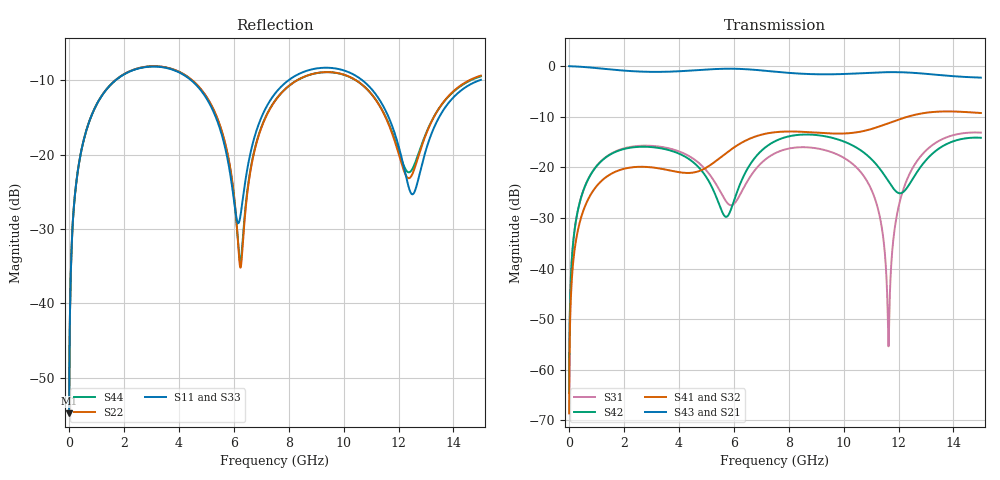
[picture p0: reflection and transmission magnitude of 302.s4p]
! Created with skrf 1.8.0 (http://scikit-rf.org).
# GHz S RI R 50.0
!freq ReS11 ImS11 ReS12 ImS12 ReS13 ImS13
! ReS14 ImS14
! ReS21 ImS21 ReS22 ImS22 ReS23 ImS23
! ReS24 ImS24
! ReS31 ImS31 ReS32 ImS32 ReS33 ImS33
! ReS34 ImS34
! ReS41 ImS41 ReS42 ImS42 ReS43 ImS43
! ReS44 ImS44
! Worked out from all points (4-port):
!   2499 points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, 5 MHz to 15 GHz, reference 50 ohm
!   strongest paths, dB at 5 MHz, 3.476 GHz, 7.19 GHz, 11.1 GHz, 15 GHz:
!     S43: 0.0, -1.1, -0.9, -1.3, -2.3
!     S21: 0.0, -1.1, -0.9, -1.3, -2.3
!     S41: -68.6, -20.4, -13.3, -12.3, -9.3
!     S32: -68.6, -20.5, -13.3, -12.3, -9.3
!     S42: -64.6, -16.4, -15.9, -18.9, -14.2
!     S31: -64.6, -16.1, -18.3, -25.5, -13.1
!   lowest |S11| = -54.8 dB at 5 MHz (marker M1), VSWR 1.00, Z = 50.1 + j0.11 ohm
!   |S11| at or under -10 dB: start of sweep to 1.7 GHz; 4.446 GHz to 7.997 GHz (3.551 GHz wide, 57.1 % of centre); 10.68 GHz to 14.96 GHz (4.279 GHz wide, 33.4 % of centre)
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0.005  0.00145 0.0011  0.9985 -0.00282  7.26e-05 0.000586  -7.04e-05 -0.000365
       0.9985 -0.00282  0.00145 0.0011  -7.04e-05 -0.000365  7.25e-05 0.000586
       7.26e-05 0.000586  -7.04e-05 -0.000365  0.00145 0.0011  0.9985 -0.00282
       -7.04e-05 -0.000365  7.25e-05 0.000586  0.9985 -0.00282  0.00145 0.0011
0.3126303  0.0195 0.073  0.9735 -0.1762  0.00908 0.0352  -0.00743 -0.0218
           0.9735 -0.1762  0.0195 0.073  -0.00742 -0.0218  0.00876 0.0353
           0.00908 0.0352  -0.00742 -0.0218  0.0195 0.073  0.9735 -0.1761
           -0.00743 -0.0218  0.00876 0.0353  0.9735 -0.1761  0.0195 0.073
1.569404  0.2347 0.1884  0.6204 -0.6843  0.1198 0.0691  -0.0855 -0.0176
          0.6204 -0.6843  0.2361 0.1878  -0.0853 -0.0177  0.1149 0.0747
          0.1198 0.0691  -0.0853 -0.0177  0.2347 0.1884  0.6204 -0.6843
          -0.0855 -0.0176  0.1149 0.0747  0.6204 -0.6843  0.236 0.1878
6.277616  0.0366 0.0218  -0.9365 -0.0263  -0.0323 0.0467  0.00269 0.1745
          -0.9365 -0.0263  0.0178 0.00588  -0.00165 0.1745  0.052 0.0515
          -0.0323 0.0467  -0.00165 0.1745  0.0346 0.0235  -0.9365 -0.0261
          0.00269 0.1745  0.052 0.0515  -0.9365 -0.0261  0.0193 0.00729
10.27303  0.324 -0.1378  0.2502 0.8034  0.0911 -0.0637  0.1868 -0.1129
          0.2502 0.8034  0.3137 -0.1005  0.1898 -0.1033  0.0743 -0.1501
          0.0911 -0.0637  0.1898 -0.1033  0.3252 -0.1396  0.2488 0.8036
          0.1868 -0.1129  0.0743 -0.1501  0.2488 0.8036  0.3143 -0.097
11.6361  0.1096 -0.1416  0.7277 0.4798  -0.00166 -0.000384  0.1378 -0.2357
         0.7277 0.4798  0.1183 -0.1085  0.1497 -0.2283  -0.0535 -0.0493
         -0.00166 -0.000384  0.1497 -0.2283  0.1063 -0.144  0.7264 0.4815
         0.1378 -0.2357  -0.0535 -0.0493  0.7264 0.4815  0.1236 -0.1055
15  0.3103 0.0699  0.3635 -0.6782  0.2103 -0.0656  -0.3342 -0.0823
    0.3635 -0.6782  0.3313 0.0748  -0.3263 -0.1001  0.1928 -0.0351
    0.2103 -0.0656  -0.3263 -0.1001  0.3114 0.0741  0.3672 -0.6769
    -0.3342 -0.0823  0.1928 -0.0351  0.3672 -0.6769  0.3278 0.0721
